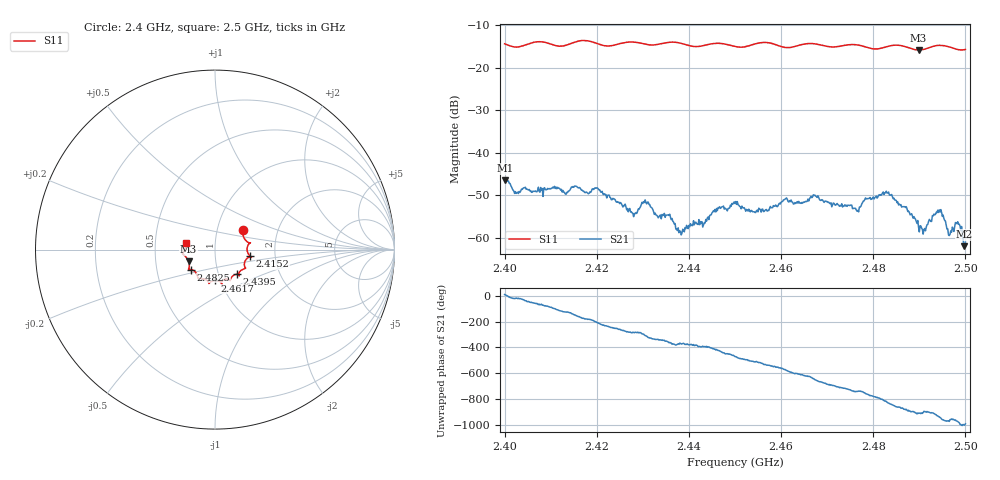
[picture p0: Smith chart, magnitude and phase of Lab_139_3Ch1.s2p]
# Hz S RI R 50
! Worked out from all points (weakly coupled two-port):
!   601 points, 2.4 GHz to 2.5 GHz, reference 50 ohm
!   highest |S21| = -46.44 dB at 2.4002 GHz (marker M1); lowest = -61.9 dB at 2.4997 GHz (marker M2)
!   lowest |S11| = -15.9 dB at 2.4898 GHz (marker M3), VSWR 1.38, Z = 36.9 - j4.88 ohm
!   |S11| at or under -10 dB: start of sweep to end of sweep
!   S12 and S22 are empty: the file has one direction only
!   S11 on the Smith chart (normalised r, x): 2.4 GHz: 1.33, +0.30; 2.4152 GHz: 1.48, -0.11; 2.4395 GHz: 1.22, -0.35; 2.4617 GHz: 0.94, -0.33; 2.4825 GHz: 0.75, -0.17; 2.5 GHz: 0.72, +0.05
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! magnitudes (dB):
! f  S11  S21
! 2.4 GHz  -14.4  -46.6
! 2.4002 GHz  -14.5  -46.4
! 2.4025 GHz  -15.2  -49.6
! 2.4152 GHz  -14.0  -47.8
! 2.4167 GHz  -13.6  -48.8
! 2.4282 GHz  -14.0  -54.3
! 2.4307 GHz  -14.5  -51.7
! 2.4333 GHz  -14.5  -55.3
! 2.4395 GHz  -14.7  -57.0
! 2.45 GHz  -15.0  -51.9
! 2.4542 GHz  -14.5  -53.9
! 2.4617 GHz  -15.3  -51.6
! 2.4667 GHz  -14.3  -50.5
! 2.4763 GHz  -14.6  -53.5
! 2.4825 GHz  -15.2  -49.4
! 2.4833 GHz  -15.0  -49.2
! 2.4898 GHz  -15.9  -57.5
! 2.4943 GHz  -14.8  -53.4
! 2.4965 GHz  -15.1  -59.4
! 2.4983 GHz  -15.8  -56.2
! 2.4997 GHz  -15.8  -61.9
! 2.5 GHz  -15.7  -61.0
